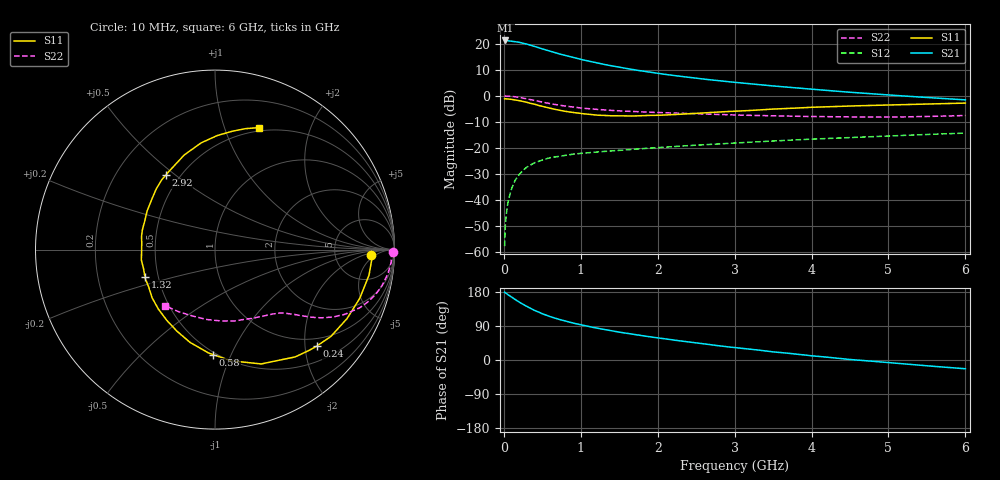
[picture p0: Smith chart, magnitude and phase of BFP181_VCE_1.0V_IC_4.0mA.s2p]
! Infineon Technologies  Discrete & RF Semiconductors
! BFP181
! VCE = 1.0 V,  IC =  4.0 mA
! Common Emitter S-Parameters:  Jan 2016
# GHz  S  MA  R  50
!  f  S11  S21  S12  S22
! GHz  MAG  ANG  MAG  ANG  MAG  ANG  MAG  ANG
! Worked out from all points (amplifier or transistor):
!   210 points, 10 MHz to 6 GHz, reference 50 ohm
!   highest |S21| = 21.2 dB at 20 MHz (marker M1)
!   |S21| within 3 dB of that: start of sweep to 474.9 MHz
!   unconditionally stable (mu >= 1): 1.604 GHz to end of sweep
!   at 185 MHz: K = 0.16, MSG = 25.7 dB, |S12| = -30.8 dB
!   at 1.52 GHz: K = 0.97, MSG = 15.9 dB, |S12| = -20.9 dB
!   at 6 GHz: K = 1.12, MAG = 4.3 dB, |S12| = -14.3 dB
!   S11 on the Smith chart (normalised r, x): 10 MHz: 13, -3; 240 MHz: 0.82, -2.25; 580 MHz: 0.48, -0.86; 1.32 GHz: 0.42, -0.15; 2.92 GHz: 0.42, +0.46; 6 GHz: 0.46, +1.31
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0.01  0.8675 -2.0  11.39 178.8  0.0013 89.1  0.9895 -0.7
0.02  0.8746 -4.0  11.48 177.6  0.0033 89.9  0.9832 -1.6
0.06  0.8642 -11.2  11.29 171.6  0.0099 84.9  0.9813 -5.0
0.15  0.8299 -27.6  10.88 159.3  0.0242 74.2  0.9524 -12.1
0.2  0.807 -36.8  10.58 152.8  0.0308 70.0  0.9293 -15.6
0.24  0.7812 -43.5  10.22 147.9  0.0357 66.0  0.9057 -18.2
0.3  0.7466 -53.2  9.764 141.4  0.0428 62.0  0.8701 -21.8
0.4  0.6871 -68.0  8.828 130.8  0.0517 55.5  0.8095 -26.4
0.5  0.626 -81.8  7.916 122.0  0.0586 50.6  0.7548 -29.9
0.58  0.5846 -91.1  7.334 116.2  0.0634 47.0  0.7152 -32.0
0.7  0.536 -104.9  6.46 108.2  0.0683 43.3  0.6648 -34.6
0.8  0.5016 -115.0  5.927 102.5  0.0719 41.1  0.6328 -36.1
1.02  0.4533 -135.4  4.896 91.9  0.0785 37.5  0.5791 -38.8
1.1  0.4416 -142.5  4.619 88.2  0.0807 36.7  0.5639 -39.6
1.32  0.4185 -159.0  3.936 80.1  0.0856 34.6  0.5318 -41.9
1.58  0.4099 -176.5  3.36 71.0  0.0914 33.7  0.5056 -44.3
2.02  0.4219 158.5  2.66 57.9  0.1014 32.0  0.4752 -49.6
2.92  0.4974 123.5  1.857 34.6  0.1218 28.5  0.431 -63.3
3.1  0.512 118.2  1.749 30.7  0.126 27.8  0.4231 -66.5
4.1  0.6058 95.6  1.299 9.4  0.149 22.4  0.3965 -87.2
5.1  0.6712 80.6  1.01 -8.6  0.1702 17.0  0.3909 -110.6
6  0.7221 70.3  0.833 -23.1  0.192 11.3  0.4179 -131.6
